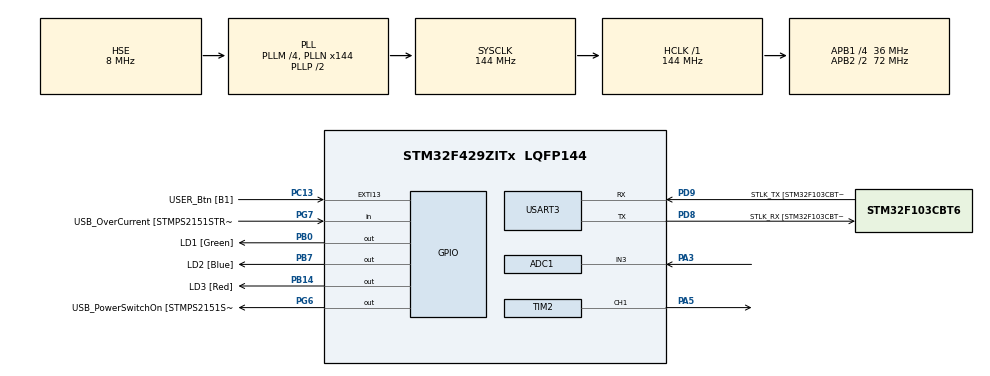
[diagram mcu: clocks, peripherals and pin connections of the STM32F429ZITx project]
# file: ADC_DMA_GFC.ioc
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ADC1.Channel-1\#ChannelRegularConversion=ADC_CHANNEL_3
ADC1.ClockPrescaler=ADC_CLOCK_SYNC_PCLK_DIV2
ADC1.ContinuousConvMode=DISABLE
ADC1.DMAContinuousRequests=ENABLE
ADC1.EOCSelection=ADC_EOC_SEQ_CONV
ADC1.EnableAnalogWatchDog=false
ADC1.ExternalTrigConv=ADC_EXTERNALTRIGCONV_T3_TRGO
ADC1.InjNumberOfConversion=0
ADC1.Mode=__NULL
ADC1.NbrOfConversion=1
ADC1.NbrOfConversionFlag=1
ADC1.Rank-1\#ChannelRegularConversion=1
ADC1.SamplingTime-1\#ChannelRegularConversion=ADC_SAMPLETIME_3CYCLES
ADC1.master=1
Dma.ADC1.0.Direction=DMA_PERIPH_TO_MEMORY
Dma.ADC1.0.FIFOMode=DMA_FIFOMODE_DISABLE
Dma.ADC1.0.Instance=DMA2_Stream0
Dma.ADC1.0.MemDataAlignment=DMA_MDATAALIGN_WORD
Dma.ADC1.0.MemInc=DMA_MINC_ENABLE
Dma.ADC1.0.Mode=DMA_NORMAL
Dma.ADC1.0.PeriphDataAlignment=DMA_PDATAALIGN_WORD
Dma.ADC1.0.PeriphInc=DMA_PINC_DISABLE
Dma.ADC1.0.Priority=DMA_PRIORITY_VERY_HIGH
Dma.Request0=ADC1
Mcu.Family=STM32F4
Mcu.Name=STM32F429ZITx
Mcu.Package=LQFP144
NVIC.ADC_IRQn=true\:0\:0\:false\:false\:true\:true\:true\:true
NVIC.DMA2_Stream0_IRQn=true\:0\:0\:false\:false\:true\:false\:true\:true
NVIC.PriorityGroup=NVIC_PRIORITYGROUP_4
PA1.GPIO_Label=RMII_REF_CLK [LAN8742A-CZ-TR_REFCLK0]
PA1.Signal=ETH_REF_CLK
PA10.GPIO_Label=USB_ID
PA10.Signal=USB_OTG_FS_ID
PA11.GPIO_Label=USB_DM
PA11.Signal=USB_OTG_FS_DM
PA12.GPIO_Label=USB_DP
PA12.Signal=USB_OTG_FS_DP
PA13.GPIO_Label=TMS
PA13.Mode=Serial_Wire
PA13.Signal=SYS_JTMS-SWDIO
PA14.GPIO_Label=TCK
PA14.Mode=Serial_Wire
PA14.Signal=SYS_JTCK-SWCLK
PA2.GPIO_Label=RMII_MDIO [LAN8742A-CZ-TR_MDIO]
PA2.Signal=ETH_MDIO
PA3.Signal=ADCx_IN3
PA5.Signal=S_TIM2_CH1_ETR
PA7.GPIO_Label=RMII_CRS_DV [LAN8742A-CZ-TR_CRS_DV]
PA7.Signal=ETH_CRS_DV
PA8.GPIO_Label=USB_SOF [TP1]
PA8.Signal=USB_OTG_FS_SOF
PA9.GPIO_Label=USB_VBUS
PA9.Signal=USB_OTG_FS_VBUS
PB0.GPIO_Label=LD1 [Green]
PB0.Signal=GPIO_Output
PB13.GPIO_Label=RMII_TXD1 [LAN8742A-CZ-TR_TXD1]
PB13.Signal=ETH_TXD1
PB14.GPIO_Label=LD3 [Red]
PB14.Signal=GPIO_Output
PB7.GPIO_Label=LD2 [Blue]
PB7.Signal=GPIO_Output
PC1.GPIO_Label=RMII_MDC [LAN8742A-CZ-TR_MDC]
PC1.Signal=ETH_MDC
PC13.GPIO_Label=USER_Btn [B1]
PC13.Signal=GPXTI13
PC14/OSC32_IN.Mode=LSE-External-Oscillator
PC14/OSC32_IN.Signal=RCC_OSC32_IN
PC15/OSC32_OUT.Mode=LSE-External-Oscillator
PC15/OSC32_OUT.Signal=RCC_OSC32_OUT
PC4.GPIO_Label=RMII_RXD0 [LAN8742A-CZ-TR_RXD0]
PC4.Signal=ETH_RXD0
PC5.GPIO_Label=RMII_RXD1 [LAN8742A-CZ-TR_RXD1]
PC5.Signal=ETH_RXD1
PD8.GPIO_Label=STLK_RX [STM32F103CBT6_PA3]
PD8.Mode=Asynchronous
PD8.Signal=USART3_TX
PD9.GPIO_Label=STLK_TX [STM32F103CBT6_PA2]
PD9.Mode=Asynchronous
PD9.Signal=USART3_RX
PG11.GPIO_Label=RMII_TX_EN [LAN8742A-CZ-TR_TXEN]
PG11.Signal=ETH_TX_EN
PG13.GPIO_Label=RMII_TXD0 [LAN8742A-CZ-TR_TXD0]
PG13.Signal=ETH_TXD0
PG6.GPIO_Label=USB_PowerSwitchOn [STMPS2151STR_EN]
PG6.Signal=GPIO_Output
PG7.GPIO_Label=USB_OverCurrent [STMPS2151STR_FAULT]
PG7.Signal=GPIO_Input
PH0/OSC_IN.GPIO_Label=MCO [STM32F103CBT6_PA8]
PH0/OSC_IN.Mode=HSE-External-Oscillator
PH0/OSC_IN.Signal=RCC_OSC_IN
PH1/OSC_OUT.Mode=HSE-External-Oscillator
PH1/OSC_OUT.Signal=RCC_OSC_OUT
ProjectManager.HeapSize=0x200
ProjectManager.StackSize=0x400
ProjectManager.TargetToolchain=STM32CubeIDE
RCC.48MHZClocksFreq_Value=41142857.14285714
RCC.AHBFreq_Value=144000000
RCC.APB1CLKDivider=RCC_HCLK_DIV4
RCC.APB1Freq_Value=36000000
RCC.APB1TimFreq_Value=72000000
RCC.APB2CLKDivider=RCC_HCLK_DIV2
RCC.APB2Freq_Value=72000000
RCC.APB2TimFreq_Value=144000000
RCC.CortexFreq_Value=144000000
RCC.HCLKFreq_Value=144000000
RCC.HSE_VALUE=8000000
RCC.HSI_VALUE=16000000
RCC.PLLM=4
RCC.PLLMUL=RCC_PLL_MUL9
RCC.PLLN=144
RCC.PLLQ=7
RCC.PLLSourceVirtual=RCC_PLLSOURCE_HSE
RCC.PRESCALERUSB=RCC_USBCLKSOURCE_PLL_DIV1_5
RCC.SYSCLKFreq_VALUE=144000000
RCC.SYSCLKSource=RCC_SYSCLKSOURCE_PLLCLK
RCC.SYSCLKSourceVirtual=RCC_SYSCLKSOURCE_PLLCLK
RCC.USBFreq_Value=48000000
RCC.VCOOutputFreq_Value=288000000
SH.ADCx_IN3.0=ADC1_IN3,IN3
SH.S_TIM2_CH1_ETR.0=TIM2_CH1,PWM Generation1 CH1
TIM2.AutoReloadPreload=TIM_AUTORELOAD_PRELOAD_ENABLE
TIM2.Channel-PWM\ Generation1\ CH1=TIM_CHANNEL_1
TIM2.Period=65535
TIM2.Prescaler=1
TIM3.AutoReloadPreload=TIM_AUTORELOAD_PRELOAD_ENABLE
TIM3.Period=11
TIM3.Prescaler=5
TIM3.TIM_MasterOutputTrigger=TIM_TRGO_UPDATE
USART3.VirtualMode=VM_ASYNC
VP_TIM2_VS_ClockSourceINT.Mode=Internal
VP_TIM3_VS_ClockSourceINT.Mode=Internal
board=NUCLEO-F429ZI

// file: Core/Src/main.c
/* USER CODE BEGIN Header */
/**
  ******************************************************************************
  * @file           : main.c
  * @brief          : Ejemplo de ADC con Analog Watch Dog (AWD)
  *                   (No veo diferencia entre continuo y único)
  ******************************************************************************
  *
  * El ejemplo se desarrolló en base a:
  * https://deepbluembedded.com/stm32-adc-read-example-dma-interrupt-polling/
  *
  ******************************************************************************
  */
/* USER CODE END Header */
#include "main.h"
#include "adc.h"
#include "dma.h"
#include "tim.h"
#include "usart.h"
#include "gpio.h"

/* USER CODE BEGIN Includes */
#include "uOSAL.h"

/* USER CODE END Includes */

/* USER CODE BEGIN PM */
#define DELTA      100
#define MUESTRAS   2000
#define SOBREMUESTRAS 400
#define COLUMNAS   25
#define NIVEL      1200
#define HISTERESIS 20
#define N_CAPTURAS 16

/* USER CODE END PM */

/* USER CODE BEGIN PV */
uint32_t ADC_CONVERTIDO [ MUESTRAS ] = {0}; //0;
uint32_t ADC_SUMA       [ MUESTRAS ] = {0};
uint8_t  ADC_CANTIDAD   [ MUESTRAS ] = {0};
float    PROMEDIO = 0;
float    PROMEDIO_TOTAL = 0;
volatile uint32_t Num_Conversiones = 0;
bool     Escribimos = false;
bool     Nueva_Lectura = false;

/* USER CODE END PV */

void SystemClock_Config(void);
/* USER CODE BEGIN PFP */
void EscribirDatos(uint32_t);
void PromediarConDisparo(void);
/* USER CODE END PFP */

int main(void)
{

  /* MCU Configuration--------------------------------------------------------*/

  /* Reset of all peripherals, Initializes the Flash interface and the Systick. */
  HAL_Init();

  /* Configure the system clock */
  SystemClock_Config();

  /* Initialize all configured peripherals */
  MX_GPIO_Init();
  MX_DMA_Init();
  MX_USART3_UART_Init();
  MX_ADC1_Init();
  MX_TIM2_Init();
  MX_TIM3_Init();
  /* USER CODE BEGIN 2 */
  //-----------------------------------------------------------------------------------------------
  uint32_t Tiempo_ms = 0;
  uartInit();

  GPIO_InitTypeDef  GPIO_InitStruct;
  GPIO_InitStruct.Pin = GPIO_PIN_0;
  GPIO_InitStruct.Mode = GPIO_MODE_OUTPUT_PP;
  GPIO_InitStruct.Pull = GPIO_NOPULL;
  GPIO_InitStruct.Speed = GPIO_SPEED_FAST;
  HAL_GPIO_Init(GPIOA, &GPIO_InitStruct);

  GPIO_InitStruct.Pin = GPIO_PIN_0 | GPIO_PIN_7 | GPIO_PIN_14; // ;
  HAL_GPIO_Init(GPIOB, &GPIO_InitStruct);

  uEscribirTexto ("\n\r-----------------------------------------------------------------------------");
  uEscribirTexto ("\n\rADC disparado por trigger con DMA (marzo 2024)");
  uEscribirTexto ("\n\r-----------------------------------------------------------------------------\n\r");

  HAL_TIM_PWM_Start(&htim2, TIM_CHANNEL_1);
  HAL_TIM_Base_Start(&htim3); // Start Timer3 (Trigger Source For ADC1)
  //HAL_ADC_Start_IT(&hadc1);   // Start ADC Conversion

  Tiempo_ms = uOSALmiliseg ();
  HAL_ADC_Start_DMA(&hadc1, (uint32_t *) ADC_CONVERTIDO, MUESTRAS);  // Inicia la conversión continua del ADC

  //-----------------------------------------------------------------------------------------------
  /* USER CODE END 2 */

  /* Infinite loop */
  while (1)
  {

    /* USER CODE BEGIN 3 */
	//---------------------------------------------------------------------------------------------
	//TIM2->CCR1 = (AD_RES<<4); // Update The PWM Duty Cycle With Latest ADC Conversion Result

	if (Nueva_Lectura) {
		Nueva_Lectura = false;
		//PROMEDIO = 0;
		for (int j=0; j<MUESTRAS; j++) {
					PROMEDIO += (float) ADC_CONVERTIDO[j];
		}
		PROMEDIO = PROMEDIO / MUESTRAS;
		PROMEDIO_TOTAL += PROMEDIO / N_CAPTURAS;
		TIM2->CCR1 = ( ((uint32_t) PROMEDIO & 0xFFFF) <<4 );
		PromediarConDisparo();
		//EscribirDatos(Num_Conversiones);

		//HAL_GPIO_TogglePin(GPIOB, GPIO_PIN_0 | GPIO_PIN_7 | GPIO_PIN_14);
		HAL_GPIO_TogglePin(GPIOB, GPIO_PIN_14); // led rojo que titila
		HAL_GPIO_WritePin(GPIOB, GPIO_PIN_0, GPIO_PIN_RESET); // led rojo que titila

		//HAL_Delay(10);
		if ( Num_Conversiones <  N_CAPTURAS ) HAL_ADC_Start_DMA(&hadc1, (uint32_t *) ADC_CONVERTIDO, MUESTRAS);
		if ( Num_Conversiones == N_CAPTURAS ) {
			Tiempo_ms = uOSALmiliseg () - Tiempo_ms;
			EscribirDatos(Num_Conversiones);
		    uEscribirTextoEnteroSS ("Tardamos ", Tiempo_ms);
		}

	}
  }
  //-----------------------------------------------------------------------------------------------
  /* USER CODE END 3 */
}

void SystemClock_Config(void)
{
  RCC_OscInitTypeDef RCC_OscInitStruct = {0};
  RCC_ClkInitTypeDef RCC_ClkInitStruct = {0};

  /** Configure the main internal regulator output voltage
  */
  __HAL_RCC_PWR_CLK_ENABLE();
  __HAL_PWR_VOLTAGESCALING_CONFIG(PWR_REGULATOR_VOLTAGE_SCALE1);

  /** Initializes the RCC Oscillators according to the specified parameters
  * in the RCC_OscInitTypeDef structure.
  */
  RCC_OscInitStruct.OscillatorType = RCC_OSCILLATORTYPE_HSE;
  RCC_OscInitStruct.HSEState = RCC_HSE_ON;
  RCC_OscInitStruct.PLL.PLLState = RCC_PLL_ON;
  RCC_OscInitStruct.PLL.PLLSource = RCC_PLLSOURCE_HSE;
  RCC_OscInitStruct.PLL.PLLM = 4;
  RCC_OscInitStruct.PLL.PLLN = 144;
  RCC_OscInitStruct.PLL.PLLP = RCC_PLLP_DIV2;
  RCC_OscInitStruct.PLL.PLLQ = 7;
  if (HAL_RCC_OscConfig(&RCC_OscInitStruct) != HAL_OK)
  {
    Error_Handler();
  }

  /** Initializes the CPU, AHB and APB buses clocks
  */
  RCC_ClkInitStruct.ClockType = RCC_CLOCKTYPE_HCLK|RCC_CLOCKTYPE_SYSCLK
                              |RCC_CLOCKTYPE_PCLK1|RCC_CLOCKTYPE_PCLK2;
  RCC_ClkInitStruct.SYSCLKSource = RCC_SYSCLKSOURCE_PLLCLK;
  RCC_ClkInitStruct.AHBCLKDivider = RCC_SYSCLK_DIV1;
  RCC_ClkInitStruct.APB1CLKDivider = RCC_HCLK_DIV4;
  RCC_ClkInitStruct.APB2CLKDivider = RCC_HCLK_DIV2;

  if (HAL_RCC_ClockConfig(&RCC_ClkInitStruct, FLASH_LATENCY_4) != HAL_OK)
  {
    Error_Handler();
  }
}

/* USER CODE BEGIN 4 */

void HAL_ADC_ConvCpltCallback(ADC_HandleTypeDef* hadc)
{
	HAL_GPIO_WritePin(GPIOA, GPIO_PIN_0, GPIO_PIN_RESET);
	Num_Conversiones++;
	Nueva_Lectura = true;

	//HAL_GPIO_TogglePin(GPIOA, GPIO_PIN_0);
	//AD_RES = HAL_ADC_GetValue(&hadc1);
	// for (int i=0; i< 0x6FF; i++) { 		}
	//HAL_GPIO_WritePin(GPIOA, GPIO_PIN_0, GPIO_PIN_RESET);
}

void HAL_ADC_ConvHalfCpltCallback(ADC_HandleTypeDef* hadc)
{
	HAL_GPIO_WritePin(GPIOA, GPIO_PIN_0, GPIO_PIN_SET);
}

void HAL_ADC_LevelOutOfWindowCallback(ADC_HandleTypeDef* hadc)
{
	static uint32_t contando = 0;
	contando++;
	//HAL_GPIO_WritePin(GPIOB, GPIO_PIN_0, GPIO_PIN_SET);
	if ( contando & 0x0700 ) HAL_GPIO_TogglePin(GPIOB, GPIO_PIN_0);
}

void PromediarConDisparo(void)
{
	bool bajo=true;
	int inicio = 0;
	int final  = MUESTRAS;
	uEscribirTexto (".");
	if (ADC_CONVERTIDO[0] >= NIVEL) bajo = false;

	for (int disparo=0; disparo<MUESTRAS; disparo++) {

		// supondremos por ahora siempre flanco de subida
		if ( bajo && (ADC_CONVERTIDO[disparo] >= NIVEL) ) {

    		if ( disparo > SOBREMUESTRAS ) {
    			// No puedo cargar todas las muestras anteriores
    			inicio = disparo - SOBREMUESTRAS;
    		}

            if ( disparo < SOBREMUESTRAS ) {
            	final = MUESTRAS + disparo - SOBREMUESTRAS;
            }

	    	// hubo disparo!!!
	    	for (int i=inicio; i<final; i++) {
	    		ADC_SUMA     [ SOBREMUESTRAS + i - disparo] = ADC_SUMA [ SOBREMUESTRAS + i - disparo] + ADC_CONVERTIDO[i];
				ADC_CANTIDAD [ SOBREMUESTRAS + i - disparo] ++;
	    	}
	    	disparo = MUESTRAS;
	    }

	    // Esto es por si empezó alto
	    if (ADC_CONVERTIDO[disparo] < (NIVEL-HISTERESIS)) bajo = true;
	}
	uEscribirTexto ("-");
}

void EscribirDatos(uint32_t Actual)
{
	//static uint32_t Anterior = 0;
	uEscribirTextoEnteroSS ("\n\r============================================================\n\rLectura # ", Actual);
	//uEscribirTextoEnteroSS (" (Frecuencia de Muestreo = ", (Actual-Anterior) * MUESTRAS / DELTA);
	//uEscribirTexto (" kHz)\n\r");
	uEscribirTexto (" \n\r");

	int j=0;
	for (int i=0; i<MUESTRAS; i++) {
		if (j>=COLUMNAS) {
			uEscribirTexto ("\n\r");
			j=0;
		}
		uEscribirEnteroSS ( ADC_CONVERTIDO[i] & 0xFFFF );
		uEscribirTexto ("; ");
		j++;
	}
	uEscribirTexto (" \n\r------------------------------------------------------------\n\r");

	j=0;
	for (int i=0; i<MUESTRAS; i++) {

		if (j>=COLUMNAS) {
			uEscribirTexto ("\n\r");
			j=0;
		}

		if (i==SOBREMUESTRAS) uEscribirTexto ("---disparo---\n\r");

		if (ADC_CANTIDAD[i] > 0) {
			uEscribirEnteroSS ( ADC_SUMA[i] / ADC_CANTIDAD[i] );
			uEscribirTexto ("; ");
		} else {
			uEscribirTexto ("-; ");
		}
		j++;
	}
	uEscribirTexto (" \n\r------------------------------------------------------------\n\r");

	j=0;
	for (int i=0; i<MUESTRAS; i++) {
		if (j>=COLUMNAS) {
			uEscribirTexto ("\n\r");
			j=0;
		}
		uEscribirEnteroSS ( ADC_CANTIDAD[i] );
		uEscribirTexto ("; ");
		j++;
	}

	uEscribirTextoEnteroSS ("\n\rPromedio ultimo = ", PROMEDIO);
	uEscribirTextoEnteroSS ("\n\rPromedio total  = ", PROMEDIO_TOTAL);
	uEscribirTexto (" \n\r------------------------------------------------------------\n\r");
	//Anterior = Actual;
}

/* USER CODE END 4 */

void Error_Handler(void)
{
  __disable_irq();
  while (1)
  {
  }
}
